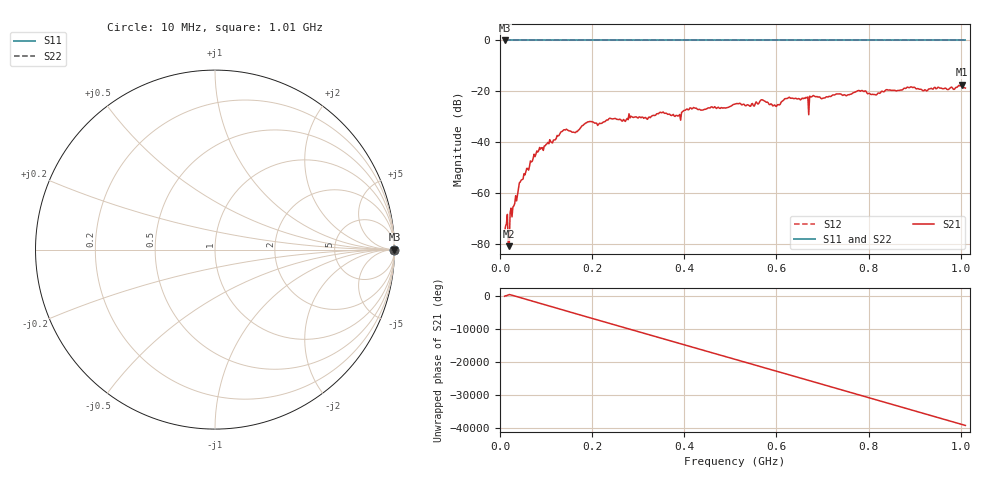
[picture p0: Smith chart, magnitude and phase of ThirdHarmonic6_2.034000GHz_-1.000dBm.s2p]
! 8/17/2025 12:24:17 AM
! C:\ANRITSUVNA\TEMP\TEMP.S2P
! CHANNEL.1
! TR.MEASUREMENT
! RAW.DATA
! RF.CORRECTION.OFF
! AVERAGING.OFF
! IF.BANDWIDTH: 5KHZ
! SWEEPTYPE:  FREQ.SWEEP(Linear)
! Reference Plane Port Info
! PORT:  PORT1  PORT2
! DISTANCE:  0  m  0  m
! TIME:  0  s  0  s
! PHASE.OFFSET:  0  deg.  0  deg.
! LOSS:  0  dB  0  dB
! REF.LOSS:  0  dB  0  dB
! REF.FREQ:  0  Hz  0  Hz
! Power Info
! POWER:  -20  dBm  -20  dBm
! EFF.POWER:  -20  dBm  -20  dBm
! SOURCE.ATTEN:  0  dB  0  dB
! TEST.ATTEN:  0  dB  0  dB
# GHZ S RI R 50.0
! FREQ.GHZ  S11RE  S11IM  S21RE  S21IM  S12RE  S12IM  S22RE  S22IM
!; PortSelection: Port_12
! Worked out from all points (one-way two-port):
!   501 points, 10 MHz to 1.01 GHz, reference 50 ohm
!   highest |S21| = -17.37 dB at 1.002 GHz (marker M1); lowest = -80.7 dB at 20 MHz (marker M2)
!   lowest |S11| = 0.0 dB at 10 MHz (marker M3)
!   |S11| at or under -10 dB: nowhere
!   |S22| runs from 0.0 to 0.0 dB; largest |S21 - S12| = 1.1
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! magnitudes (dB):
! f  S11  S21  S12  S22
! 10 MHz  0.0  -75.0  0.0  0.0
! 16 MHz  0.0  -68.2  0.0  0.0
! 20 MHz  0.0  -80.7  0.0  0.0
! 22 MHz  0.0  -67.5  0.0  0.0
! 26 MHz  0.0  -69.2  0.0  0.0
! 44 MHz  0.0  -55.5  0.0  0.0
! 82 MHz  0.0  -43.7  0.0  0.0
! 136 MHz  0.0  -35.5  0.0  0.0
! 164 MHz  0.0  -36.1  0.0  0.0
! 178 MHz  0.0  -33.5  0.0  0.0
! 344 MHz  0.0  -28.7  0.0  0.0
! 388 MHz  0.0  -29.4  0.0  0.0
! 416 MHz  0.0  -26.8  0.0  0.0
! 510 MHz  0.0  -24.9  0.0  0.0
! 570 MHz  0.0  -23.3  0.0  0.0
! 596 MHz  0.0  -25.3  0.0  0.0
! 624 MHz  0.0  -22.7  0.0  0.0
! 666 MHz  0.0  -22.5  0.0  0.0
! 678 MHz  0.0  -21.9  0.0  0.0
! 844 MHz  0.0  -19.4  0.0  0.0
! 1.002 GHz  0.0  -17.4  0.0  0.0
! 1.01 GHz  0.0  -18.7  0.0  0.0
